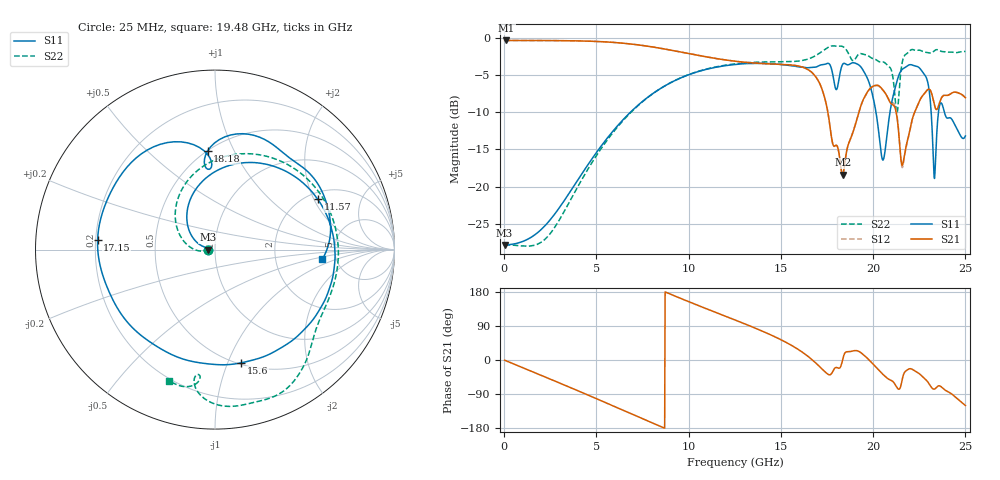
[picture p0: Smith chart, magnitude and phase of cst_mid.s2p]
! BV_vna_clk_w5: /FPGA/FPGA_CLK_R via F.Cu→In3.Cu at (180.401, 101.754)
! stackup: VNA from the board file and its kisi.json
! ports: 1 in, 2 out
! CST Studio Suite 2025.5 Release from 2025-05-30, time domain (FIT, hexahedral, PBA), 726310 mesh cells, 445 s
! mesh: {'lpw': 25.0, 'lpb': 25.0, 'minstep': 0.0, 'ratio': 20}; ports: port 1 (face); port 2 (face)
! interpolated from CST's 1001 samples to the case grid
# Hz S RI R 50
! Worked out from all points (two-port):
!   1000 points, 25 MHz to 25 GHz, reference 50 ohm
!   highest |S21| = -0.36 dB at 125 MHz (marker M1); lowest = -18.4 dB at 18.35 GHz (marker M2)
!   |S21| within 3 dB of the highest: start of sweep to 13.38 GHz
!   lowest |S11| = -27.8 dB at 25 MHz (marker M3), VSWR 1.08, Z = 46.1 + j0.0155 ohm
!   |S11| at or under -10 dB: start of sweep to 6.843 GHz; 20.15 GHz to 20.91 GHz (757.5 MHz wide, 3.69 % of centre); 23.86 GHz to end of sweep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
!   |S22| runs from -28.0 to -1.1 dB; largest |S21 - S12| = 0.012
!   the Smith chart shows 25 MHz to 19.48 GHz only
!   S11 on the Smith chart (normalised r, x): 25 MHz: 0.92, +0.00; 11.57 GHz: 2.28, +2.15; 15.6 GHz: 0.51, -1.12; 17.15 GHz: 0.21, +0.04; 18.18 GHz: 0.50, +0.79; 19.48 GHz: 3.87, -0.67
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2.5e7  -0.0407 0.000168  0.9592 -0.00841  0.9593 -0.00842  -0.0407 0.000114
1.25e8  -0.0407 0.000827  0.9584 -0.0421  0.9584 -0.0421  -0.0407 0.0006
4.2e9  -0.1107 0.0502  0.0776 -0.9486  0.0776 -0.9486  -0.1111 -0.000794
8.35e9  0.0219 0.4459  -0.8482 -0.109  -0.8482 -0.109  -0.1061 0.4333
1.1575e10  0.5727 0.2799  -0.399 0.6026  -0.399 0.6026  0.4839 0.4205
1.2525e10  0.6568 0.0845  -0.1845 0.6708  -0.1844 0.6707  0.6108 0.271
1.56e10  0.1453 -0.631  0.517 0.4034  0.5172 0.4033  0.6181 -0.3111
1.6675e10  -0.4929 -0.3986  0.5858 0.014  0.5856 0.0139  0.5489 -0.4909
1.715e10  -0.6541 0.0525  0.4496 -0.1645  0.4493 -0.1644  0.5112 -0.6112
1.7625e10  -0.3416 0.573  0.2126 -0.1727  0.2125 -0.1723  0.4003 -0.7735
1.8175e10  -0.0411 0.5498  0.1487 -0.0581  0.1493 -0.0575  0.1484 -0.8668
1.835e10  0.1544 0.6457  0.1203 0.00282  0.1211 0.00299  0.0504 -0.8717
1.9475e10  0.5973 -0.0551  0.3757 0.0918  0.3745 0.089  -0.2557 -0.7311
2.05e10  0.1465 -0.0429  0.3614 -0.2698  0.3624 -0.2636  -0.4724 -0.5016
2.085e10  0.2588 0.1075  0.2415 -0.2958  0.2494 -0.294  -0.522 -0.3757
2.12e10  0.4555 0.0875  0.1394 -0.3032  0.1426 -0.3152  -0.3436 -0.1591
2.16e10  0.5989 -0.1491  0.0972 -0.1018  0.0906 -0.1006  -0.3655 -0.604
2.2625e10  0.1534 -0.5826  0.299 -0.2651  0.3 -0.2644  -0.7937 -0.1903
2.305e10  -0.1832 -0.3896  0.1961 -0.4062  0.1964 -0.4056  -0.7884 -0.0548
2.3325e10  -0.001 -0.1136  0.0813 -0.3438  0.0834 -0.3435  -0.8193 0.0116
2.3675e10  0.0142 -0.3651  0.1323 -0.3642  0.1334 -0.3663  -0.7955 0.1613
2.5e10  -0.1178 0.1846  -0.1981 -0.3428  -0.1976 -0.342  -0.6526 0.4818
